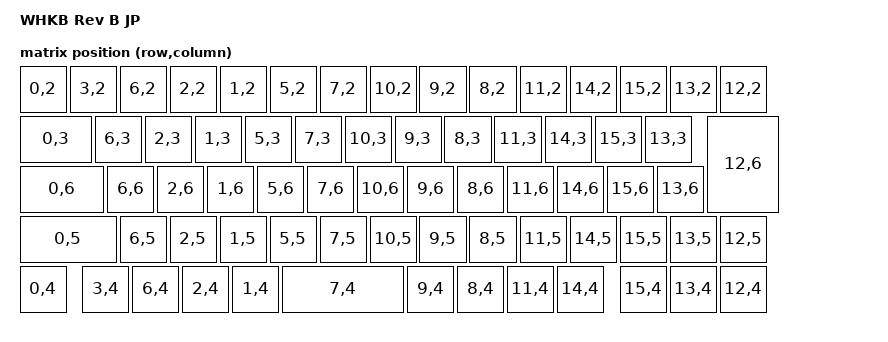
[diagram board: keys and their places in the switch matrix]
/*
 * Copyright (c) 2025 Stefan Sundin (4pplet)
 *
 * SPDX-License-Identifier: MIT
 */

/*
 * Additional peripheral pin mappings (not yet implemented):
 *
 * MAX17048 Fuel Gauge (I2C):
 *   Alert: P0.31
 */

#include <dt-bindings/zmk/matrix_transform.h>
#include <physical_layouts.dtsi>
#include "whkb_rev_b-pinctrl.dtsi"

/ {
    model = "WHKB Rev B JP";
    compatible = "applet,whkb";

    chosen {
        zmk,kscan = &kscan0;
        zmk,matrix-transform = &default_transform;
        zmk,physical-layout = &physical_layout;
    };

    kscan0: kscan_0 {
        compatible = "zmk,kscan-gpio-topre";
        gpios = <&gpio0 29 GPIO_ACTIVE_HIGH>,              /* 0: POWER (LDO EN) */
                <&gpio0 13 (GPIO_ACTIVE_LOW|GPIO_PULL_UP)>, /* 1: KEY (~KEY) */
                <&gpio0 20 GPIO_ACTIVE_HIGH>,              /* 2: HYS */
                <&gpio0 17 GPIO_ACTIVE_HIGH>,              /* 3: BIT0 (Row A) */
                <&gpio0 15 GPIO_ACTIVE_HIGH>,              /* 4: BIT1 (Row B) */
                <&gpio0 26 GPIO_ACTIVE_HIGH>,              /* 5: BIT2 (Row C) */
                <&gpio0 6 GPIO_ACTIVE_HIGH>,               /* 6: BIT3 (Col A) */
                <&gpio0 8 GPIO_ACTIVE_HIGH>,               /* 7: BIT4 (Col B) */
                <&gpio0 4 GPIO_ACTIVE_HIGH>,               /* 8: BIT5 (Col C) */
                <&gpio0 12 GPIO_ACTIVE_HIGH>;              /* 9: STROBE (~D enable) */
        /* JP extra pins for dual HC4051 multiplexers */
        row-enable-low-gpios = <&gpio0 7 GPIO_ACTIVE_LOW>;  /* Z2 ~Enable (row 0-7) */
        row-enable-high-gpios = <&gpio0 2 GPIO_ACTIVE_LOW>; /* Z3 ~Enable (row 8-15) */
        matrix-rows = <16>;
        matrix-cols = <8>;
    };

    /* HHKB JP Layout - 69 keys
     * Matrix is 16 rows x 8 columns
     * Based on TMK HHKB JP KEYMAP_JP macro where Kxy = RC(x_hex_to_dec, y)
     * K02=RC(0,2), K32=RC(3,2), KA2=RC(10,2), KB2=RC(11,2), etc.
     */
    default_transform: keymap_transform_0 {
        compatible = "zmk,matrix-transform";
        columns = <8>;
        rows = <16>;
        map = <
        /* Row 0: Esc  1    2    3    4    5    6    7    8    9    0    -    ^   Yen  Bksp */
        /*        K02  K32  K62  K22  K12  K52  K72  KA2  K92  K82  KB2  KE2  KF2 KD2  KC2  */
        RC(0,2) RC(3,2) RC(6,2) RC(2,2) RC(1,2) RC(5,2) RC(7,2) RC(10,2) RC(9,2) RC(8,2) RC(11,2) RC(14,2) RC(15,2) RC(13,2) RC(12,2)
        /* Row 1: Tab  Q    W    E    R    T    Y    U    I    O    P    @    [   Enter(top half) */
        /*        K03  K63  K23  K13  K53  K73  KA3  K93  K83  KB3  KE3  KF3  KD3 */
        RC(0,3) RC(6,3) RC(2,3) RC(1,3) RC(5,3) RC(7,3) RC(10,3) RC(9,3) RC(8,3) RC(11,3) RC(14,3) RC(15,3) RC(13,3)
        /* Row 2: Ctrl A    S    D    F    G    H    J    K    L    ;    :    ]   Enter(bottom) */
        /*        K06  K66  K26  K16  K56  K76  KA6  K96  K86  KB6  KE6  KF6  KD6 KC6 */
        RC(0,6) RC(6,6) RC(2,6) RC(1,6) RC(5,6) RC(7,6) RC(10,6) RC(9,6) RC(8,6) RC(11,6) RC(14,6) RC(15,6) RC(13,6) RC(12,6)
        /* Row 3: Shift Z    X    C    V    B    N    M    ,    .    /    \   Shift */
        /*        K05  K65  K25  K15  K55  K75  KA5  K95  K85  KB5  KE5  KF5 KD5 KC5 */
        RC(0,5) RC(6,5) RC(2,5) RC(1,5) RC(5,5) RC(7,5) RC(10,5) RC(9,5) RC(8,5) RC(11,5) RC(14,5) RC(15,5) RC(13,5) RC(12,5)
        /* Row 4: Fn   Zen  Meta Mhen Space Henk Kana Meta Fn   Up   Left Down Right */
        /*        K04  K34  K64  K24  K14   K74  K94  K84  KB4  KE4  KF4  KD4  KC4 */
        RC(0,4) RC(3,4) RC(6,4) RC(2,4) RC(1,4) RC(7,4) RC(9,4) RC(8,4) RC(11,4) RC(14,4) RC(15,4) RC(13,4) RC(12,4)
        >;
    };

    physical_layout: physical_layout_0 {
        compatible = "zmk,physical-layout";
        display-name = "HHKB JP";
        transform = <&default_transform>;
        keys = <
            /* Row 0: 15 keys (Esc through Backspace) */
            &key_physical_attrs 100 100 0   0   0 0 0
            &key_physical_attrs 100 100 100 0   0 0 0
            &key_physical_attrs 100 100 200 0   0 0 0
            &key_physical_attrs 100 100 300 0   0 0 0
            &key_physical_attrs 100 100 400 0   0 0 0
            &key_physical_attrs 100 100 500 0   0 0 0
            &key_physical_attrs 100 100 600 0   0 0 0
            &key_physical_attrs 100 100 700 0   0 0 0
            &key_physical_attrs 100 100 800 0   0 0 0
            &key_physical_attrs 100 100 900 0   0 0 0
            &key_physical_attrs 100 100 1000 0  0 0 0
            &key_physical_attrs 100 100 1100 0  0 0 0
            &key_physical_attrs 100 100 1200 0  0 0 0
            &key_physical_attrs 100 100 1300 0  0 0 0
            &key_physical_attrs 100 100 1400 0  0 0 0
            /* Row 1: 13 keys (Tab through [, Enter top is part of row 2) */
            &key_physical_attrs 150 100 0   100 0 0 0
            &key_physical_attrs 100 100 150 100 0 0 0
            &key_physical_attrs 100 100 250 100 0 0 0
            &key_physical_attrs 100 100 350 100 0 0 0
            &key_physical_attrs 100 100 450 100 0 0 0
            &key_physical_attrs 100 100 550 100 0 0 0
            &key_physical_attrs 100 100 650 100 0 0 0
            &key_physical_attrs 100 100 750 100 0 0 0
            &key_physical_attrs 100 100 850 100 0 0 0
            &key_physical_attrs 100 100 950 100 0 0 0
            &key_physical_attrs 100 100 1050 100 0 0 0
            &key_physical_attrs 100 100 1150 100 0 0 0
            &key_physical_attrs 100 100 1250 100 0 0 0
            /* Row 2: 14 keys (Ctrl through Enter - ISO-style vertical Enter) */
            &key_physical_attrs 175 100 0   200 0 0 0
            &key_physical_attrs 100 100 175 200 0 0 0
            &key_physical_attrs 100 100 275 200 0 0 0
            &key_physical_attrs 100 100 375 200 0 0 0
            &key_physical_attrs 100 100 475 200 0 0 0
            &key_physical_attrs 100 100 575 200 0 0 0
            &key_physical_attrs 100 100 675 200 0 0 0
            &key_physical_attrs 100 100 775 200 0 0 0
            &key_physical_attrs 100 100 875 200 0 0 0
            &key_physical_attrs 100 100 975 200 0 0 0
            &key_physical_attrs 100 100 1075 200 0 0 0
            &key_physical_attrs 100 100 1175 200 0 0 0
            &key_physical_attrs 100 100 1275 200 0 0 0
            &key_physical_attrs 150 200 1375 100 0 0 0
            /* Row 3: 14 keys (LShift 2u, 11 alpha keys, \, RShift) - total 15u */
            /* VIA: LShift w:2 at x:0, then 1u keys at x:2-12, RShift at x:13 */
            &key_physical_attrs 200 100 0    300 0 0 0   /* LShift (0,5) w:2 */
            &key_physical_attrs 100 100 200  300 0 0 0   /* Z (6,5) x:2 */
            &key_physical_attrs 100 100 300  300 0 0 0   /* X (2,5) x:3 */
            &key_physical_attrs 100 100 400  300 0 0 0   /* C (1,5) x:4 */
            &key_physical_attrs 100 100 500  300 0 0 0   /* V (5,5) x:5 */
            &key_physical_attrs 100 100 600  300 0 0 0   /* B (7,5) x:6 */
            &key_physical_attrs 100 100 700  300 0 0 0   /* N (10,5) x:7 */
            &key_physical_attrs 100 100 800  300 0 0 0   /* M (9,5) x:8 */
            &key_physical_attrs 100 100 900  300 0 0 0   /* , (8,5) x:9 */
            &key_physical_attrs 100 100 1000 300 0 0 0   /* . (11,5) x:10 */
            &key_physical_attrs 100 100 1100 300 0 0 0   /* / (14,5) x:11 */
            &key_physical_attrs 100 100 1200 300 0 0 0   /* \ (15,5) x:12 */
            &key_physical_attrs 100 100 1300 300 0 0 0   /* RShift (13,5) x:13 */
            &key_physical_attrs 100 100 1400 300 0 0 0   /* Up arrow (12,5) x:14 - end of shift row */
            /* Row 4: 13 keys - bottom row with arrow cluster (Left, Down, Right) */
            /* VIA: Fn [0.25gap] Zen Meta Muhen key Space(2.5u) Henk Kana Meta Fn [0.25gap] ← ↓ → */
            &key_physical_attrs 100 100 0    400 0 0 0   /* Fn (0,4) x:0 */
            &key_physical_attrs 100 100 125  400 0 0 0   /* Zen (3,4) x:1.25 */
            &key_physical_attrs 100 100 225  400 0 0 0   /* Meta (6,4) x:2.25 */
            &key_physical_attrs 100 100 325  400 0 0 0   /* Muhen (2,4) x:3.25 */
            &key_physical_attrs 100 100 425  400 0 0 0   /* key (1,4) x:4.25 */
            &key_physical_attrs 250 100 525  400 0 0 0   /* Space (7,4) x:5.25 w:2.5 */
            &key_physical_attrs 100 100 775  400 0 0 0   /* Henkan (9,4) x:7.75 */
            &key_physical_attrs 100 100 875  400 0 0 0   /* Kana (8,4) x:8.75 */
            &key_physical_attrs 100 100 975  400 0 0 0   /* Meta (11,4) x:9.75 */
            &key_physical_attrs 100 100 1075 400 0 0 0   /* Fn (14,4) x:10.75 */
            &key_physical_attrs 100 100 1200 400 0 0 0   /* ← (15,4) x:12 */
            &key_physical_attrs 100 100 1300 400 0 0 0   /* ↓ (13,4) x:13 */
            &key_physical_attrs 100 100 1400 400 0 0 0   /* → (12,4) x:14 */
        >;
    };

    buzzer: pwm_buzzer {
        compatible = "pwm-buzzer";
        pwms = <&pwm0 0 1000 PWM_POLARITY_NORMAL>;
        status = "disabled";
    };

    leds {
        compatible = "gpio-leds";
        led_0: led_1 {
            gpios = <&gpio1 4 GPIO_ACTIVE_HIGH>;  /* P1.04 */
            status = "okay";
        };
        led_1: led_2 {
            gpios = <&gpio0 10 GPIO_ACTIVE_HIGH>; /* P0.10 */
            status = "okay";
        };
        led_2: led_3 {
            gpios = <&gpio1 6 GPIO_ACTIVE_HIGH>;  /* P1.06 */
            status = "okay";
        };
    };

    /* BQ24075 charger status input - active low when charging */
    charger_status {
        compatible = "gpio-keys";
        chg_pin: chg_pin {
            gpios = <&gpio0 30 (GPIO_ACTIVE_LOW | GPIO_PULL_UP)>; /* P0.30 CHG */
        };
    };

    aliases {
        led1 = &led_0;
        led2 = &led_1;
        led3 = &led_2;
        buzzer = &buzzer;
        chg-status = &chg_pin;
    };
};

&pwm0 {
    status = "okay";
    pinctrl-0 = <&pwm0_default>;
    pinctrl-1 = <&pwm0_sleep>;
    pinctrl-names = "default", "sleep";
};

/*
 * ADXL362 accelerometer for wakeup from sleep
 * Uses ec-support-zmk-module from petejohanson
 */
&spi1 {
    status = "okay";
    compatible = "nordic,nrf-spim";
    pinctrl-0 = <&spi1_default>;
    pinctrl-1 = <&spi1_sleep>;
    pinctrl-names = "default", "sleep";
    cs-gpios = <&gpio0 3 GPIO_ACTIVE_LOW>; /* P0.03 CS */

    wakeup_trigger: wakeup_trigger@0 {
        compatible = "zmk,adxl362-awake-trigger";
        status = "okay";
        reg = <0>;
        spi-max-frequency = <8000000>;
        int1-gpios = <&gpio1 10 GPIO_ACTIVE_HIGH>; /* P1.10 AWAKE */
        int2-gpios = <&gpio1 10 GPIO_ACTIVE_HIGH>; /* Same pin - workaround for module macro */
        wakeup-source;
        linked-devices = <&kscan0>;

        normal {
            activity-threshold = <18>;
            activity-time = <0>;
            inactivity-threshold = <60>;
            inactivity-time = <100>;
        };

        sleep {
            activity-threshold = <140>;
            activity-time = <0>;
            inactivity-threshold = <500>;
            inactivity-time = <0>;
        };
    };
};
